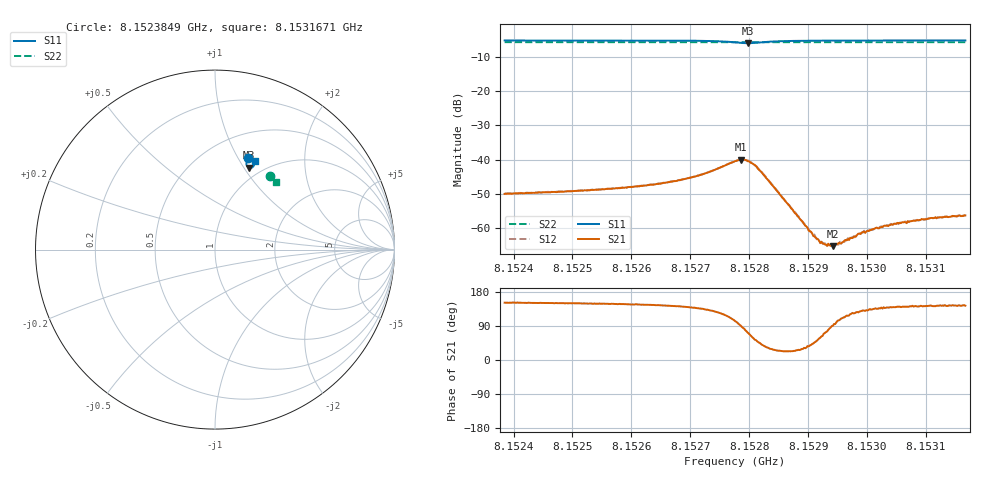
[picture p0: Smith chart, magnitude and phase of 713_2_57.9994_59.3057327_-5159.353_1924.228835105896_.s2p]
#  HZ  S  RI  R  50.00
! Rohde & Schwarz Vector Network Analyzer
! Rohde-Schwarz,ZNB20-2Port,1311601062101988,3.16
! Created: UTC 3/21/2024, 1:22:15 AM
! freq[Hz]  re:S11  im:S11  re:S21  im:S21  re:S12  im:S12  re:S22  im:S22
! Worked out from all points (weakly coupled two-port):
!   401 points, 8.1523849 GHz to 8.1531671 GHz, reference 50 ohm
!   highest |S21| = -40.01 dB at 8.1527858 GHz (marker M1); lowest = -65.2 dB at 8.1529422 GHz (marker M2)
!   lowest |S11| = -6.1 dB at 8.1527975 GHz (marker M3), VSWR 2.95, Z = 43.6 + j52.7 ohm
!   |S11| at or under -10 dB: nowhere
!   |S22| runs from -5.9 to -5.8 dB; largest |S21 - S12| = 0.00029
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8.15238487e9  0.1818 0.509  -0.00279 0.00152  -0.00283 0.00159  0.3049 0.4104
8.1525159e9  0.1922 0.5052  -0.00306 0.00182  -0.00305 0.00186  0.3115 0.4052
8.15257456e9  0.1972 0.5028  -0.00326 0.00205  -0.00325 0.00209  0.3144 0.4029
8.15264692e9  0.2046 0.4988  -0.00365 0.00256  -0.00365 0.00268  0.318 0.3997
8.15271146e9  0.213 0.4914  -0.00425 0.00398  -0.00422 0.00402  0.3211 0.3969
8.15273883e9  0.2171 0.484  -0.0044 0.00538  -0.00433 0.00548  0.3226 0.3954
8.15277599e9  0.2122 0.4618  -0.00211 0.00928  -0.0021 0.00926  0.3236 0.3933
8.15278577e9  0.2032 0.4562  -0.000132 0.00999  -2.7e-06 0.00999  0.3237 0.3929
8.1527975e9  0.1887 0.4566  0.00291 0.00906  0.00305 0.00931  0.324 0.3928
8.15280923e9  0.1778 0.4664  0.00492 0.00674  0.00491 0.00686  0.324 0.3926
8.15282292e9  0.1755 0.4798  0.00485 0.00395  0.00497 0.00401  0.3249 0.3927
8.15290701e9  0.1984 0.4987  0.000628 0.000564  0.00063 0.000539  0.3298 0.3898
8.15291679e9  0.2 0.4987  0.000416 0.000562  0.000414 0.000567  0.3304 0.3892
8.15292461e9  0.2012 0.4987  0.000269 0.000538  0.000266 0.000557  0.3308 0.3888
8.15293244e9  0.2025 0.4986  0.000136 0.000539  0.000162 0.000566  0.3312 0.3884
8.15294221e9  0.2039 0.4985  -5.14e-06 0.000552  -3.54e-05 0.000563  0.3316 0.3882
8.15294808e9  0.2046 0.4985  -0.000101 0.000591  -8.95e-05 0.000585  0.332 0.3878
8.15295981e9  0.206 0.4981  -0.000241 0.000592  -0.000221 0.000603  0.3327 0.3873
8.1529911e9  0.2096 0.4973  -0.000562 0.00067  -0.000533 0.000672  0.334 0.386
8.15303804e9  0.2142 0.4959  -0.000836 0.000736  -0.000842 0.000734  0.3363 0.3838
8.15311235e9  0.2205 0.494  -0.00111 0.000865  -0.00114 0.000852  0.34 0.3807
8.1531671e9  0.2246 0.4924  -0.00124 0.000922  -0.00125 0.000915  0.3425 0.3783
